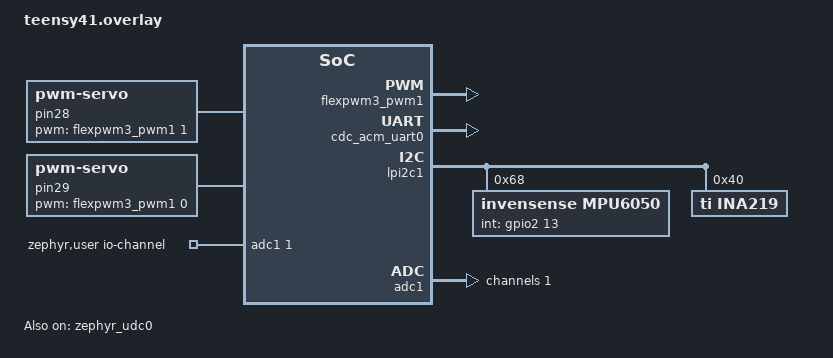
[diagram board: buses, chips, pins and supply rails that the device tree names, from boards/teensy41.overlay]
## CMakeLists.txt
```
# SPDX-License-Identifier: Apache-2.0

cmake_minimum_required(VERSION 3.20.0)
find_package(Zephyr REQUIRED HINTS $ENV{ZEPHYR_BASE})
project(threading_test)

# Add the include directory where util.h is located
target_include_directories(app PRIVATE include/)

file(GLOB APP_SOURCES src/*.c)
# Add the source files to your project
target_sources(app PRIVATE ${APP_SOURCES})
```

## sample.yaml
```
#
# Copyright (c) 2019 Nordic Semiconductor ASA
#
# SPDX-License-Identifier: Apache-2.0
#

sample:
  name: MPU6050 Sensor Sample
tests:
  sample.sensor.mpu6050:
    build_only: true
    platform_allow: teensy41
    tags: sensors
    integration_platforms:
      - teensy41

  sample.basic.servo_motor:
    tags:
      - drivers
      - pwm
    depends_on: pwm
    harness: motor
    filter: dt_compat_enabled("pwm-servo")
```

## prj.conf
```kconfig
CONFIG_PRINTK=y
CONFIG_HEAP_MEM_POOL_SIZE=256
CONFIG_ASSERT=y
CONFIG_GPIO=y

CONFIG_STDOUT_CONSOLE=y
CONFIG_PWM=y

CONFIG_ADC=y

## Sensor configs 
CONFIG_MPU6050=y
CONFIG_I2C=y
CONFIG_SENSOR=y
CONFIG_LOG=y

CONFIG_MPU6050_TRIGGER_NONE=y
CONFIG_CBPRINTF_FP_SUPPORT=y


CONFIG_USB_DEVICE_STACK=y
CONFIG_USB_DEVICE_PRODUCT="Zephyr USB console sample"
CONFIG_USB_DEVICE_PID=0x0004
CONFIG_USB_DEVICE_INITIALIZE_AT_BOOT=n

CONFIG_SERIAL=y
CONFIG_CONSOLE=y
CONFIG_UART_CONSOLE=y
CONFIG_UART_LINE_CTRL=y
```

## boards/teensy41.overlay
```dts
/ {
	pin28: pin28 {
		compatible = "pwm-servo";
		pwms = <&flexpwm3_pwm1 1 PWM_KHZ(3) PWM_POLARITY_NORMAL>;  
		min-pulse = <PWM_NSEC(0)>; /* Does not actually affect physical min/max. Max is set by the period in the pwms phandle. These are just inits for min/max vars */
		max-pulse = <PWM_KHZ(3)>;
	};

	pin29: pin29 {
		compatible = "pwm-servo";
		pwms = <&flexpwm3_pwm1 0 PWM_KHZ(3) PWM_POLARITY_NORMAL>;  
		min-pulse = <PWM_NSEC(0)>;
		max-pulse = <PWM_KHZ(3)>;
	};

	zephyr,user {
		/* adjust channel number according to pinmux in board.dts */
		io-channels = <&adc1 1>;
	};

    chosen {
	zephyr,console = &cdc_acm_uart0;
    };

};


&pinctrl{

        pinmux_flexpwm3: pinmux_flexpwm3 {
                group0 {
                        pinmux = <&iomuxc_gpio_emc_32_flexpwm3_pwmb1>, <&iomuxc_gpio_emc_31_flexpwm3_pwma1>;
                        drive-strength = "r0-4";
                        bias-pull-up;
                        bias-pull-up-value = "47k";
                        slew-rate = "slow";
                        nxp,speed = "100-mhz";
                };
        };

		pinmux_adc1: pinmux_adc1 {
                group0 {
                        pinmux = <&iomuxc_gpio_ad_b0_12_adc1_in1 >;
                        drive-strength = "r0-4";
                        bias-pull-up;
                        bias-pull-up-value = "47k";
                        slew-rate = "slow";
                        nxp,speed = "100-mhz";
                };
        };


};


&flexpwm3_pwm1 {
        status = "okay";
        pinctrl-0 = <&pinmux_flexpwm3>;
        pinctrl-names = "default";
};



&zephyr_udc0 {
	compatible = "nxp,mcux-usbd";
	status = "okay";
	cdc_acm_uart0: cdc_acm_uart0{
		compatible = "zephyr,cdc-acm-uart";
	};
};


&lpi2c1 {
	status = "okay";
	mpu6050@68 {
		compatible = "invensense,mpu6050";
		reg = <0x68>;
		status = "okay";
		int-gpios = <&gpio2 13 GPIO_ACTIVE_HIGH>;
	};

	ina219@40 {
		status = "okay";
		compatible = "ti,ina219";
		reg = <0x40>;
		brng = <1>;
		pg = <3>;
		sadc = <3>;
		badc = <3>;
		shunt-milliohm = <100>;
		lsb-microamp = <100>;
	};
};

&adc1 {
	#address-cells = <1>;
	#size-cells = <0>;
	status = "okay";
	pinctrl-0 = <&pinmux_adc1>;
	pinctrl-names = "default";
	channel@1 {
		reg = <1>;
		zephyr,gain = "ADC_GAIN_1";
		zephyr,reference = "ADC_REF_INTERNAL";
		zephyr,acquisition-time = <ADC_ACQ_TIME_DEFAULT>;
		zephyr,resolution = <12>;
	};
};
```

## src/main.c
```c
#include <zephyr/devicetree.h>
#include <zephyr/logging/log.h>
#include <zephyr/drivers/gpio.h>
#include <zephyr/sys/__assert.h>
#include <zephyr/drivers/pwm.h>
#include <zephyr/usb/usb_device.h>
#include <zephyr/usb/usbd.h>
#include <zephyr/drivers/adc.h>
#include <zephyr/sys/printk.h>
#include <math.h>
#include<string.h>
#include "mpu_6050.h"
#include "ina_219.h"
#include "data_profile.h"


#define STACKSIZE 1024
#define PRIORITY 7
#define INA_WINDOW 1000
#define SPEED PWM_KHZ(3)   // Sets period to 3kHz with 100% duty cycle being 333,333 ns. 
#define WINDOW_SIZE 35

#define RPM 68
#define V_NOM 7.4
#define PI M_PI
#define KV  RPM/V_NOM
#define KV_SI  (KV * ((2*PI)/60))  // radians/second/volt
#define KT  (1/KV_SI)


#define DT_SPEC_AND_COMMA(node_id, prop, idx) \
	ADC_DT_SPEC_GET_BY_IDX(node_id, idx),

#if !DT_NODE_EXISTS(DT_PATH(zephyr_user)) || \
	!DT_NODE_HAS_PROP(DT_PATH(zephyr_user), io_channels)
#error "No suitable devicetree overlay specified"
#endif


float InaSamples[INA_WINDOW], OutputCurrent[DATA_SAMPLES]; // measured position values for case 3


static const struct pwm_dt_spec pwm_28 = PWM_DT_SPEC_GET(DT_NODELABEL(pin28));
static uint32_t min_pulse_28 = DT_PROP(DT_NODELABEL(pin28), min_pulse);
// static uint32_t max_pulse_28 = DT_PROP(DT_NODELABEL(pin28), max_pulse);


static const struct pwm_dt_spec pwm_29 = PWM_DT_SPEC_GET(DT_NODELABEL(pin29));
static uint32_t min_pulse_29 = DT_PROP(DT_NODELABEL(pin29), min_pulse);
// static uint32_t max_pulse_29 = DT_PROP(DT_NODELABEL(pin29), max_pulse);


struct mpu_6050_data mpu_data;
struct ina_219_data ina_data;
const struct device *mpu_dev, *ina_dev;

volatile static float angle = 130.0;
volatile static float commanded_current = 0.0;
volatile static float accel_profile;

// static volatile float Kp = 0.2, Ki = 0.00;
// static volatile float Kp_pos = 1.3, Ki_pos = 0.05, Kd_pos = 0.6;

static volatile float Kp = 0.030, Ki = 0.025;
// static volatile float Kp = 0.022, Ki = 0.025;
static volatile float Kp_pos = 1.4, Ki_pos = 0.08, Kd_pos = 1.00;



unsigned int pwm_val;
int dir_flag = 1;
int data_count = 0;
static int counter = 0;


/* Data of ADC io-channels specified in devicetree. */
static const struct adc_dt_spec adc_channels[] = {
	DT_FOREACH_PROP_ELEM(DT_PATH(zephyr_user), io_channels,
			     DT_SPEC_AND_COMMA)
};

struct adc_sequence sequence;
uint16_t buf;
float filteredEncoderReading = 0.0;





// Define mutex for sensor readings
K_FIFO_DEFINE(printk_fifo);
K_SEM_DEFINE(start_sem, 0, 1);
K_MUTEX_DEFINE(mpu_sensor_mutex);
K_MUTEX_DEFINE(ina_sensor_mutex);
K_MUTEX_DEFINE(pot_adc_mutex);

float absoluteValue(float number) {
    return (number < 0) ? -number : number;
}

const struct device * sensors_init(const char* sensor_compat)
{
    
    const struct device *dev;
    if (strcmp(sensor_compat, "mpu") == 0)
    {
        dev = DEVICE_DT_GET_ONE(MPU_COMPAT);
    }
    else if (strcmp(sensor_compat, "ina") == 0)
    {
        dev = DEVICE_DT_GET_ONE(INA_COMPAT);
    }

    if (dev != NULL)
    {
        printk("\nDevice found on Teensy DTS\n");
    }

    if (device_is_ready(dev))
    {
        printk("\nDevice %s is ready\n", dev->name);
    }
    else{
        printf("Device %s is not ready\n", dev->name);
    }

    return dev;
}

void mpu_sensor_read(void)
{
    const char *sensor_name = "mpu";
    mpu_dev = sensors_init(sensor_name);    
    k_sleep(K_SECONDS(2));
    while (1) { 
		int rc = process_mpu6050(mpu_dev, &mpu_data);
		
		if (rc != 0) {
			break;
		}

        // if(data_count != IMU_WINDOW)
        // {
        //     // printk("Collecting User Data...\n");
        //     // k_mutex_lock(&mpu_sensor_mutex, K_FOREVER);
        //     // ImuSamples[data_count] = sensor_value_to_double(&mpu_data.accelerometer[0]);
        //     // data_count++;
        //     // k_mutex_unlock(&mpu_sensor_mutex);

        //     printf("%f\n",
        //     now_str(),
        //     sensor_value_to_double(&mpu_data.accelerometer[0]));

        //     data_count++;
        // }

		k_sleep(K_MSEC(10)); 
	}
}

void ina_sensor_read(void)
{
    // Runs at 200 Hz
    const char *sensor_name = "ina";
    ina_dev = sensors_init(sensor_name);

    while (1) { 

		int rc = process_ina219(ina_dev, &ina_data);
		
		if (rc != 0) {
			break;
		}
                // if (counter < INA_WINDOW)
        // {
        //     InaSamples[counter] = sensor_value_to_double(&ina_data.current);
        //     // printf("%f\n", sensor_value_to_double(&ina_data.current));
        // }
        // else
        // {
        //     k_sem_give(&start_sem);
        // }
        // counter++;

	}
}

void uart_out(void)
{
    while(1)
    {
        k_sem_take(&start_sem, K_FOREVER);  // Wait for the signal to start

        for(int i = 0; i< INA_WINDOW; i++)
        {
            printf("%f\n", InaSamples[i]);
            k_msleep(5);
        }
        break;
    }
    // struct printk_data_t *rx_data;
	// while (1) {
	// 	rx_data = k_fifo_get(&printk_fifo,
	// 						   K_FOREVER);
    //     printf("[%s]:\n"
    //         "accel %f %f %f m/s/s\n"
    //         "  gyro  %f %f %f rad/s\n",
    //         now_str(),
    //     //    sensor_value_to_double(&temperature),
    //         sensor_value_to_double(rx_data->accelerometer),
    //         sensor_value_to_double(rx_data->accelerometer+1),
    //         sensor_value_to_double(rx_data->accelerometer+2),
    //         sensor_value_to_double(rx_data->gyro),
    //         sensor_value_to_double(rx_data->gyro+1),
    //         sensor_value_to_double(rx_data->gyro+2));
	// 	k_free(rx_data);
	// }
}

void motor_control(void)
{
	int ret;
    float output_torque;
	if (!device_is_ready(pwm_28.dev)) {
		printf("Error: PWM device %s is not ready\n", pwm_28.dev->name);
	}

	if (!device_is_ready(pwm_28.dev)) {
		printf("Error: PWM device %s is not ready\n", pwm_29.dev->name);
	}

	ret = pwm_set_pulse_dt(&pwm_29, min_pulse_29);
	if (ret < 0) {
		printf("Error %d: failed to set pulse width\n", ret);
	}

	ret = pwm_set_pulse_dt(&pwm_28, min_pulse_28);
	if (ret < 0) {
		printf("Error %d: failed to set pulse width\n", ret);
	}
    
    // double scale = 20.0;
    // int dir = 1;
    k_sleep(K_SECONDS(5));
    

	while (1) {
        // if (pwm_val == 0.0)
        // {
        //     ret = pwm_set_pulse_dt(&pwm_28,min_pulse_28);
        //     if (ret < 0) {
        //         printk("Error %d: failed to set 0 pulse width for 29\n", ret);
        //         break;
        //     }

        //     k_msleep(50);
        // }
        // else
        // {
        //     ret = pwm_set_pulse_dt(&pwm_28, pwm_val);
        //     if (ret < 0) {
        //         printk("Error %d: failed to set pulse width for pin 28\n", ret);
        //         break;
        //     }
        // }




        // k_mutex_lock(&ina_sensor_mutex, K_FOREVER);
        // float current = sensor_value_to_double(&ina_data.current);
        //  printk("%f\n", current);  
        // k_mutex_unlock(&ina_sensor_mutex);

        // output_torque = -current * KT;
        // printk("%f\n", output_torque);  

        if(dir_flag != 1)
        {
            ret = pwm_set_pulse_dt(&pwm_28, min_pulse_28);
            if (ret < 0) {
                printk("Error %d: failed to set 0 pulse width for 28\n", ret);
                break;
            }

            k_msleep(50);
            
            ret = pwm_set_pulse_dt(&pwm_29, pwm_val);
            if (ret < 0) {
                printk("Error %d: failed to set pulse width for pin 29\n", ret);
                break;
		    }
    
        }
        else
        {
            ret = pwm_set_pulse_dt(&pwm_29, min_pulse_29);
            if (ret < 0) {
                printk("Error %d: failed to set 0 pulse width for 29\n", ret);
                break;
            }

            k_msleep(50);
            // /// 28 CLOCKWISE (+) CURRENT
            ret = pwm_set_pulse_dt(&pwm_28, pwm_val);
            if (ret < 0) {
                printk("Error %d: failed to set pulse width for pin 28\n", ret);
                break;
		    }
        }

        k_sleep(K_MSEC(1));  
    }
}

void read_pot_adc(void)
{
    int err;
	uint32_t count = 0;

    sequence.buffer = &buf;
    sequence.buffer_size = sizeof(buf);
    

    float rawBuffer[WINDOW_SIZE] = {0}; // Initialize buffer with zeros
    int currentIndex = 0; // Index for circular buffer

    k_sleep(K_SECONDS(4));

	for (size_t i = 0U; i < ARRAY_SIZE(adc_channels); i++) {
		if (!device_is_ready(adc_channels[i].dev)) {
			printk("ADC controller device %s not ready\n",adc_channels[i].dev->name);
		}

		err = adc_channel_setup_dt(&adc_channels[i]);
		if (err < 0) {
			printk("Could not setup channel #%d (%d)\n", i, err);
		}
	}

	while (1) {

        (void)adc_sequence_init_dt(&adc_channels[0], &sequence);

        k_mutex_lock(&pot_adc_mutex, K_FOREVER);

        err = adc_read(adc_channels[0].dev, &sequence);
        if (err < 0) {
            printk("Could not read (%d)\n", err);
            continue;
        }
        k_mutex_unlock(&pot_adc_mutex);
  
       float sum = 0;

        // Update circular buffer with new raw reading
        rawBuffer[currentIndex] = buf;
        currentIndex = (currentIndex + 1) % WINDOW_SIZE;

        // Calculate the average of the values in the circular buffer
        for (int i = 0; i < WINDOW_SIZE; ++i) {
            sum += rawBuffer[i];
        }

        filteredEncoderReading = sum / WINDOW_SIZE;

		k_sleep(K_MSEC(1));
	}
}

void current_control(void)
{
    static volatile float eint = 0;

    k_sleep(K_SECONDS(5));
    while(1)
    {
        if (counter == DATA_SAMPLES)
        {
            pwm_val = 0.0;
            printk("DONE\n");
            break;
        }

        float ref_current = commanded_current * 1000.0;

        k_mutex_lock(&ina_sensor_mutex, K_FOREVER);
        float adcval = sensor_value_to_double(&ina_data.current) * 1000.0;
        //  printk("%f\n", adcval);  
        k_mutex_unlock(&ina_sensor_mutex);

        float error = (ref_current - adcval);

        float u = Kp*error;


        if (accel_profile > 0.0)
        {
            dir_flag = 1;
        }
        else
        {
            dir_flag = -1;
        }


        if (u > 100.0)
        {
          u = 100.0;
        }
        if (u < -100.0)
        {
          u = -100.0;
        }

        if (u >= 0.0) {
            // dir_flag = 1;
            pwm_val = (u/100* SPEED);

        } else {
            // dir_flag = -1;
            pwm_val = (-u/100 * SPEED);
        }


      

        float output_torque = (-adcval/1000.0) * KT;
        float input_torque = (ref_current/1000.0) * KT;
        printk("%f %f\n", input_torque, output_torque);  


        // float output_torque = (-adcval/1000.0) * KT;
        // float input_torque = (ref_current/1000.0) * KT;
        // printk("%f %f\n", ref_current/1000.0, -adcval/1000.0);  


        // printk("CURRENT COMMAND CC:  %f PWM VAL: %f\n", u, pwm_val);    
        // printk("%d\n", pwm_val);   
        // printk("%f\n", u);  

        k_sleep(K_MSEC(1));  
    }
}

void position_control(void)
{
    // static int counter = 0;
    static volatile float eint_pos = 0.0;
    static volatile float ed_pos = 0.0;
    static volatile float eprevious_pos = 0.0; 


    while(1)
    {
        k_mutex_lock(&pot_adc_mutex, K_FOREVER);

        float encoder = filteredEncoderReading; // get the encoder value

        float actual_angle = encoder * (220.0/4095.0);
        // printk("ACTUAL ANGLE: %f\n", actual_angle);

        k_mutex_unlock(&pot_adc_mutex);

        float pos_error = (angle - actual_angle);
        
        eint_pos = eint_pos + pos_error;

        if (eint_pos > 500)
        {
            eint_pos = 500;
        }
        if(eint_pos < -500)
        {
            eint_pos = -500;
        }

        float pwm_pos_i = Ki_pos*eint_pos;

        // if (pwm_pos_i > 170)
        // {
        //     pwm_pos_i = 170;
        // }
        // if(pwm_pos_i < -170)
        // {
        //     pwm_pos_i = -170;
        // }

        ed_pos = (pos_error - eprevious_pos) / 0.005;
        
        float u = Kp_pos*pos_error + pwm_pos_i + Kd_pos*ed_pos; 

        commanded_current = u;
        eprevious_pos = pos_error;

        // printk("POS ERR: %f ED ERROR: %f COMMAND %f\n", Kp_pos*pos_error, pwm_pos_i, u );

        
        k_sleep(K_MSEC(5));
    }
}

void torque_profile_signals(void)
{
    k_sleep(K_SECONDS(5));

    while(1)
    {
        for(int i=0; i < DATA_SAMPLES-2; i++)
        {
            float torque = Torque_Profile_05[i];
            commanded_current = torque / KT;

            accel_profile = Accel_Profile_05[i];
            counter++;
            k_sleep(K_MSEC(10));
        }
        // printk("DESIRED %f\n", commanded_current);  
        break;
    }
}

K_THREAD_DEFINE(motor_id, STACKSIZE, motor_control, NULL, NULL, NULL,
PRIORITY, 0, 0);

K_THREAD_DEFINE(ina219_id, STACKSIZE, ina_sensor_read, NULL, NULL, NULL,
PRIORITY, 0, 0);

// K_THREAD_DEFINE(mpu6050_id, STACKSIZE, mpu_sensor_read, NULL, NULL, NULL,
// PRIORITY, 0, 0);


// K_THREAD_DEFINE(pot_id, STACKSIZE, read_pot_adc, NULL, NULL, NULL,
// PRIORITY, 0, 0);

// K_THREAD_DEFINE(pos_control_id, STACKSIZE, position_control, NULL, NULL, NULL,
// PRIORITY, 0, 0);

K_THREAD_DEFINE(current_control_id, STACKSIZE, current_control, NULL, NULL, NULL,
PRIORITY, 0, 0);

K_THREAD_DEFINE(torque_profile, STACKSIZE, torque_profile_signals, NULL, NULL, NULL,
PRIORITY, 0, 0);

// K_THREAD_DEFINE(data_send, STACKSIZE, uart_out, NULL, NULL, NULL,
// PRIORITY, 0, 0);



void main(void)
{

    // General app startups //
    usb_enable(NULL);

    // // Sensor threads //
    // k_thread_start(mpu6050_id);
    // // k_thread_start(ina219_id);

    // // // Motor control thread //
    // k_thread_start(motor_id);

    // // k_thread_start(pot_id);
}
```

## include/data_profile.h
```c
#ifndef DATA_PROF_
#define DATA_PROF_

#define DATA_SAMPLES 3998
extern float Torque_Profile_05[DATA_SAMPLES];

extern float Accel_Profile_05[DATA_SAMPLES-2];
#endif // DATA_PROF_
```

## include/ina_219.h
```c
#ifndef INA_219__H__
#define INA_219__H__

#include <zephyr/device.h>
#include <zephyr/kernel.h>
#include <zephyr/drivers/sensor.h>
#include <zephyr/drivers/i2c.h>
#include <inttypes.h>
#include <stdio.h>

#define INA_COMPAT ti_ina219

struct ina_219_data{
    struct sensor_value vbus;
    struct sensor_value power;
    struct sensor_value current;
};

int process_ina219(const struct device *dev, struct ina_219_data *ina_sensor_data);

#endif // INA_219__H__
```

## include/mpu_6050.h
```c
#ifndef MPU_6050__H__
#define MPU_6050__H__

#include <zephyr/device.h>
#include <zephyr/kernel.h>
#include <zephyr/drivers/sensor.h>
#include <stdio.h>

#define MPU_COMPAT invensense_mpu6050

struct printk_data_t {
	void *fifo_reserved; /* 1st word reserved for use by fifo */
	struct sensor_value accelerometer[3];
    struct sensor_value gyro[3];
};

struct mpu_6050_data{
    struct sensor_value accelerometer[3];
    struct sensor_value gyro[3];
};

const char *now_str(void);
int process_mpu6050(const struct device *dev, struct mpu_6050_data *mpu_sensor_data);


#endif // MPU_6050__H__
```

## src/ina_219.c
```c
#include "ina_219.h"

int process_ina219(const struct device *dev, struct ina_219_data *ina_sensor_data)
{
    int rc = sensor_sample_fetch(dev);
    if (rc) {
        printf("\nCould not fetch sensor data.\n");
        return rc;
    }

    extern struct k_mutex ina_sensor_mutex; 

    k_mutex_lock(&ina_sensor_mutex, K_FOREVER);
    // sensor_channel_get(dev, SENSOR_CHAN_VOLTAGE, &ina_sensor_data->vbus);
    // sensor_channel_get(dev, SENSOR_CHAN_POWER, &ina_sensor_data->power);
    sensor_channel_get(dev, SENSOR_CHAN_CURRENT, &ina_sensor_data->current);

    k_mutex_unlock(&ina_sensor_mutex);

    return rc;
}
```

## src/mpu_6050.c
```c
#include "mpu_6050.h"

const char *now_str(void)
{
	static char buf[16]; /* ...HH:MM:SS.MMM */
	uint32_t now = k_uptime_get_32();
	unsigned int ms = now % MSEC_PER_SEC;
	unsigned int s;
	unsigned int min;
	unsigned int h;

	now /= MSEC_PER_SEC;
	s = now % 60U;
	now /= 60U;
	min = now % 60U;
	now /= 60U;
	h = now;

	snprintf(buf, sizeof(buf), "%u:%02u:%02u.%03u",
		 h, min, s, ms);
	return buf;
}

int process_mpu6050(const struct device *dev, struct mpu_6050_data *mpu_sensor_data)
{

	int rc = sensor_sample_fetch(dev);

    //// FOR FIFO  ////
	// if (rc == 0) {
	// 	rc = sensor_channel_get(dev, SENSOR_CHAN_ACCEL_XYZ,
	// 				tx->accelerometer);
	// }
	// if (rc == 0) {
	// 	rc = sensor_channel_get(dev, SENSOR_CHAN_GYRO_XYZ,
	// 				tx->gyro);
	// }

    extern struct k_mutex mpu_sensor_mutex; 

    k_mutex_lock(&mpu_sensor_mutex, K_FOREVER);


    if (rc == 0) {
		rc = sensor_channel_get(dev, SENSOR_CHAN_ACCEL_XYZ,
					mpu_sensor_data->accelerometer);
	}
	if (rc == 0) {
		rc = sensor_channel_get(dev, SENSOR_CHAN_GYRO_XYZ,
					mpu_sensor_data->gyro);
	}

    k_mutex_unlock(&mpu_sensor_mutex);

    // extern struct k_fifo printk_fifo;

    // size_t size = sizeof(struct printk_data_t);
    // char *mem_ptr = k_malloc(size);
    // __ASSERT_NO_MSG(mem_ptr != 0);

    // memcpy(mem_ptr, tx, size);
    

    // k_fifo_put(&printk_fifo, mem_ptr);

	if (rc == 0) {
	} else {
		printk("sample fetch/get failed: %d\n", rc);
	}

	return rc;
}
```
